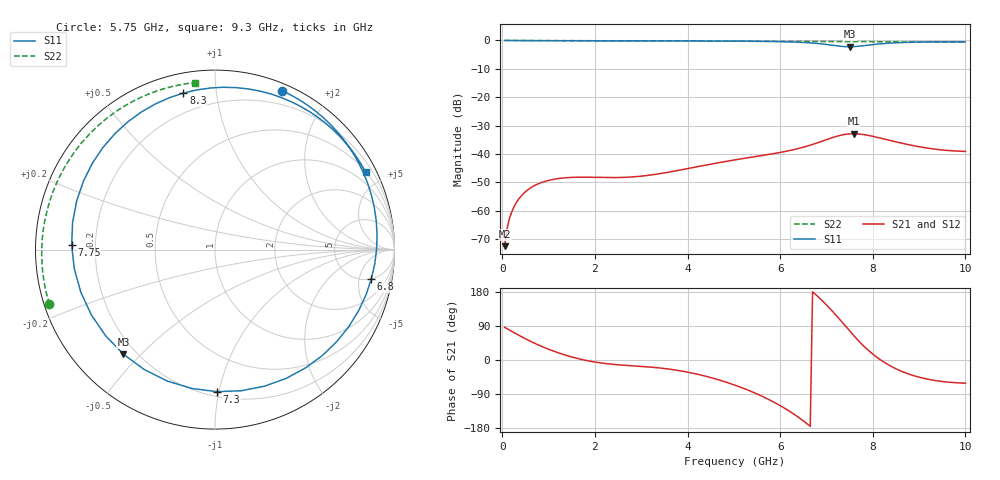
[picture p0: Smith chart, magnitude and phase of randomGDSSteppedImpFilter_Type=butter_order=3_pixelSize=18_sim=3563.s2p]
! freq	dB(S11)	phase(S11)	dB(S12)	phase(S12)
!  dB(S21)	phase(S21)	dB(S22)	phase(S22)
!S-par simulation data
#  GHz  S  DB  R 50
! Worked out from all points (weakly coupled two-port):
!   200 points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, 50 MHz to 10 GHz, reference 50 ohm
!   highest |S21| = -32.84 dB at 7.6 GHz (marker M1); lowest = -72.4 dB at 50 MHz (marker M2)
!   lowest |S11| = -2.2 dB at 7.5 GHz (marker M3), VSWR 7.88, Z = 7.63 - j22.3 ohm
!   |S11| at or under -10 dB: nowhere
!   |S22| runs from -0.6 to 0.0 dB; largest |S21 - S12| = 0
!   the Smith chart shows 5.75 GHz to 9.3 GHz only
!   S11 on the Smith chart (normalised r, x): 5.75 GHz: 0.06, +1.50; 6.8 GHz: 4.89, -7.51; 7.3 GHz: 0.23, -0.99; 7.75 GHz: 0.11, +0.02; 8.3 GHz: 0.10, +0.81; 9.3 GHz: 0.51, +4.06
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0.05  -0.00 -5.5  -72.42 86.4  -72.42 86.4  -0.00 -1.6
0.25  -0.04 -27.1  -58.65 72.4  -58.65 72.4  -0.01 -7.9
0.75  -0.08 -75.0  -50.65 41.3  -50.65 41.3  -0.03 -23.7
1.75  -0.11 -139.9  -48.13 0.5  -48.13 0.5  -0.07 -54.2
2.5  -0.12 -172.2  -48.26 -12.6  -48.26 -12.6  -0.10 -76.0
3.4  -0.14 155.9  -46.89 -21.1  -46.89 -21.1  -0.13 -100.9
5.05  -0.23 98.2  -41.97 -67.5  -41.97 -67.5  -0.21 -143.9
5.75  -0.34 67.2  -40.13 -104.0  -40.13 -104.0  -0.25 -161.7
6.25  -0.53 38.0  -38.60 -139.0  -38.60 -139.0  -0.29 -174.7
6.7  -0.91 0.3  -36.61 179.8  -36.61 179.8  -0.33 173.5
6.8  -1.05 -10.7  -36.06 169.0  -36.06 169.0  -0.34 170.8
7.05  -1.51 -44.5  -34.63 139.0  -34.63 139.0  -0.36 164.1
7.3  -2.03 -89.3  -33.40 105.1  -33.40 105.1  -0.38 157.2
7.5  -2.22 -131.2  -32.89 76.7  -32.89 76.7  -0.40 151.6
7.6  -2.17 -152.2  -32.84 62.9  -32.84 62.9  -0.41 148.8
7.75  -1.95 178.2  -33.02 43.4  -33.02 43.4  -0.42 144.5
8  -1.46 137.5  -33.75 15.6  -33.75 15.6  -0.44 137.2
8.3  -1.01 101.4  -34.91 -10.1  -34.91 -10.1  -0.47 128.3
8.35  -0.96 96.4  -35.11 -13.6  -35.11 -13.6  -0.47 126.8
8.8  -0.64 59.1  -36.78 -38.0  -36.78 -38.0  -0.52 112.8
9.3  -0.50 27.3  -38.18 -53.2  -38.18 -53.2  -0.57 96.7
10  -0.51 -10.3  -39.05 -61.1  -39.05 -61.1  -0.63 73.3
